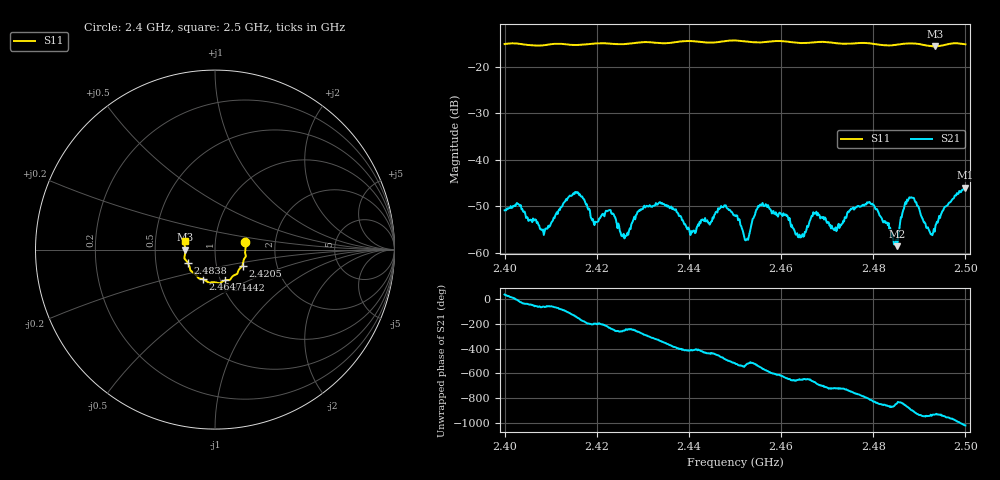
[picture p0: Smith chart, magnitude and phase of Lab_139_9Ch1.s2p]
# Hz S RI R 50
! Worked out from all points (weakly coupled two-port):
!   601 points, 2.4 GHz to 2.5 GHz, reference 50 ohm
!   highest |S21| = -46.03 dB at 2.5 GHz (marker M1); lowest = -58.6 dB at 2.4852 GHz (marker M2)
!   lowest |S11| = -15.7 dB at 2.4933 GHz (marker M3), VSWR 1.39, Z = 35.9 - j0.06 ohm
!   |S11| at or under -10 dB: start of sweep to end of sweep
!   S12 and S22 are empty: the file has one direction only
!   S11 on the Smith chart (normalised r, x): 2.4 GHz: 1.40, +0.12; 2.4205 GHz: 1.34, -0.24; 2.4442 GHz: 1.06, -0.37; 2.4647 GHz: 0.83, -0.28; 2.4838 GHz: 0.73, -0.11; 2.5 GHz: 0.71, +0.07
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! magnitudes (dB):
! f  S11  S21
! 2.4 GHz  -15.2  -50.9
! 2.4087 GHz  -15.4  -55.5
! 2.4167 GHz  -15.3  -47.9
! 2.4205 GHz  -15.0  -52.7
! 2.423 GHz  -15.1  -50.9
! 2.426 GHz  -15.2  -56.9
! 2.4333 GHz  -14.9  -49.5
! 2.4407 GHz  -14.5  -55.7
! 2.4442 GHz  -14.9  -53.6
! 2.45 GHz  -14.4  -52.0
! 2.4525 GHz  -14.6  -57.2
! 2.4558 GHz  -14.8  -49.6
! 2.4647 GHz  -15.0  -56.0
! 2.4667 GHz  -14.8  -52.1
! 2.4717 GHz  -15.0  -55.2
! 2.4792 GHz  -15.0  -49.1
! 2.4833 GHz  -15.5  -53.6
! 2.4838 GHz  -15.5  -55.6
! 2.4852 GHz  -15.3  -58.6
! 2.4882 GHz  -15.0  -48.2
! 2.4933 GHz  -15.7  -55.5
! 2.5 GHz  -15.2  -46.0
